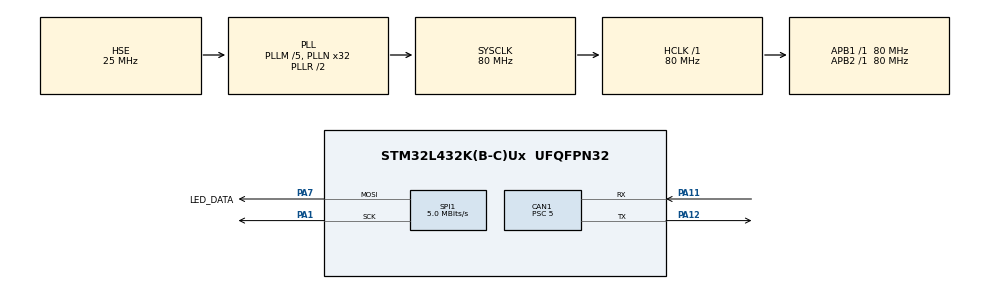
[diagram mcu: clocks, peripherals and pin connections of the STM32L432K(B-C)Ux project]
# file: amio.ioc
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CAN1.ABOM=ENABLE
CAN1.BS1=CAN_BS1_13TQ
CAN1.BS2=CAN_BS2_2TQ
CAN1.CalculateBaudRate=1000000
CAN1.CalculateTimeBit=1000
CAN1.CalculateTimeQuantum=62.5
CAN1.NART=DISABLE
CAN1.Prescaler=5
CAN1.RFLM=DISABLE
CAN1.SJW=CAN_SJW_2TQ
Dma.Request0=SPI1_TX
Dma.SPI1_TX.0.Direction=DMA_MEMORY_TO_PERIPH
Dma.SPI1_TX.0.Instance=DMA1_Channel3
Dma.SPI1_TX.0.MemDataAlignment=DMA_MDATAALIGN_BYTE
Dma.SPI1_TX.0.MemInc=DMA_MINC_ENABLE
Dma.SPI1_TX.0.Mode=DMA_NORMAL
Dma.SPI1_TX.0.PeriphDataAlignment=DMA_PDATAALIGN_BYTE
Dma.SPI1_TX.0.PeriphInc=DMA_PINC_DISABLE
Dma.SPI1_TX.0.Priority=DMA_PRIORITY_HIGH
IWDG.Reload=2000-1
IWDG.Window=4096-1
Mcu.Family=STM32L4
Mcu.Name=STM32L432K(B-C)Ux
Mcu.Package=UFQFPN32
NVIC.CAN1_RX0_IRQn=true\:0\:0\:false\:false\:true\:true\:true\:true
NVIC.CAN1_RX1_IRQn=true\:0\:0\:false\:false\:true\:true\:true\:true
NVIC.CAN1_SCE_IRQn=true\:0\:0\:false\:false\:true\:true\:true\:true
NVIC.CAN1_TX_IRQn=true\:0\:0\:false\:false\:true\:true\:true\:true
NVIC.DMA1_Channel3_IRQn=true\:0\:0\:false\:false\:true\:false\:true\:true
NVIC.PriorityGroup=NVIC_PRIORITYGROUP_4
NVIC.SPI1_IRQn=true\:0\:0\:false\:false\:true\:true\:true\:true
NVIC.TIM7_IRQn=true\:0\:0\:false\:false\:true\:true\:true\:true
PA0.Mode=HSE-External-Clock-Source-for-LittleOrca
PA0.Signal=RCC_CK_IN
PA1.Mode=TX_Only_Simplex_Unidirect_Master
PA1.Signal=SPI1_SCK
PA11.Mode=CAN_Activate
PA11.Signal=CAN1_RX
PA12.Mode=CAN_Activate
PA12.Signal=CAN1_TX
PA13\ (JTMS-SWDIO).Mode=Serial_Wire
PA13\ (JTMS-SWDIO).Signal=SYS_JTMS-SWDIO
PA14\ (JTCK-SWCLK).Mode=Serial_Wire
PA14\ (JTCK-SWCLK).Signal=SYS_JTCK-SWCLK
PA7.GPIO_Label=LED_DATA
PA7.Mode=TX_Only_Simplex_Unidirect_Master
PA7.Signal=SPI1_MOSI
ProjectManager.HeapSize=0x200
ProjectManager.StackSize=0x400
ProjectManager.TargetToolchain=Makefile
RCC.ADCFreq_Value=20000000
RCC.AHBFreq_Value=80000000
RCC.APB1Freq_Value=80000000
RCC.APB1TimFreq_Value=80000000
RCC.APB2Freq_Value=80000000
RCC.APB2TimFreq_Value=80000000
RCC.CortexFreq_Value=80000000
RCC.HCLKFreq_Value=80000000
RCC.HSE_VALUE=25000000
RCC.HSI48_VALUE=48000000
RCC.HSI_VALUE=16000000
RCC.LSE_VALUE=32768
RCC.MSI_VALUE=4000000
RCC.PLLM=5
RCC.PLLN=32
RCC.PLLSourceVirtual=RCC_PLLSOURCE_HSE
RCC.SYSCLKFreq_VALUE=80000000
RCC.SYSCLKSource=RCC_SYSCLKSOURCE_PLLCLK
RCC.USBFreq_Value=20000000
RCC.VCOOutputFreq_Value=160000000
SPI1.BaudRatePrescaler=SPI_BAUDRATEPRESCALER_16
SPI1.CalculateBaudRate=5.0 MBits/s
SPI1.DataSize=SPI_DATASIZE_8BIT
SPI1.Direction=SPI_DIRECTION_2LINES
SPI1.Mode=SPI_MODE_MASTER
SPI1.NSSPMode=SPI_NSS_PULSE_DISABLE
SPI1.VirtualType=VM_MASTER
TIM7.Period=99
TIM7.Prescaler=79
VP_IWDG_VS_IWDG.Mode=IWDG_Activate
VP_TIM7_VS_ClockSourceINT.Mode=Enable_Timer
board=custom

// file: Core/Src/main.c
/* USER CODE BEGIN Header */
/**
 ******************************************************************************
 * @file           : main.c
 * @brief          : Main program body
 ******************************************************************************
 * @attention
 *
 * Copyright (c) 2023 STMicroelectronics.
 * All rights reserved.
 *
 * This software is licensed under terms that can be found in the LICENSE file
 * in the root directory of this software component.
 * If no LICENSE file comes with this software, it is provided AS-IS.
 *
 ******************************************************************************
 */
/* USER CODE END Header */
#include "main.h"
#include "can.h"
#include "dma.h"
#include "gpio.h"
#include "iwdg.h"
#include "spi.h"
#include "tim.h"

/* USER CODE BEGIN Includes */
#include "can_comms.h"
#include "mission.h"
#include "utils.h"
#include "visEffect.h"
#include "ws2812_spi.h"
/* USER CODE END Includes */

void SystemClock_Config(void);

/* USER CODE BEGIN 0 */
void HAL_TIM_PeriodElapsedCallback(TIM_HandleTypeDef *htim)
{
}
/* USER CODE END 0 */

int main(void)
{

    /* MCU Configuration--------------------------------------------------------*/

    /* Reset of all peripherals, Initializes the Flash interface and the Systick. */
    HAL_Init();

    /* Configure the system clock */
    SystemClock_Config();

    /* Initialize all configured peripherals */
    MX_GPIO_Init();
    MX_DMA_Init();
    MX_CAN1_Init();
    MX_SPI1_Init();
    MX_TIM7_Init();
    MX_IWDG_Init();
    /* USER CODE BEGIN 2 */
    HAL_TIM_Base_Start_IT(&htim7);

    ws2812_spi_set_all(0);
    ws2812_spi_send(&hspi1);
    HAL_CAN_Start(&hcan1);
    /* USER CODE END 2 */

    /* Infinite loop */
    /* USER CODE BEGIN WHILE */
    static uint32_t delay_100us_last = 0;
    while (1)
    {
        /* USER CODE END WHILE */

        /* USER CODE BEGIN 3 */
        HAL_IWDG_Refresh(&hiwdg);
        mission_run();
        // visHandle();

        if (delay_fun(&delay_100us_last, 100))
        {
            uint8_t data = mission_is_confirmed() ? mission_get() : MISSION_NO;

            can_msg_send(&hcan1, CAN_MISSION_STATUS_ID, &data, 1, 30);
        }
    }
    /* USER CODE END 3 */
}

void SystemClock_Config(void)
{
    RCC_OscInitTypeDef RCC_OscInitStruct = {0};
    RCC_ClkInitTypeDef RCC_ClkInitStruct = {0};

    /** Configure the main internal regulator output voltage
     */
    if (HAL_PWREx_ControlVoltageScaling(PWR_REGULATOR_VOLTAGE_SCALE1) != HAL_OK)
    {
        Error_Handler();
    }

    /** Initializes the RCC Oscillators according to the specified parameters
     * in the RCC_OscInitTypeDef structure.
     */
    RCC_OscInitStruct.OscillatorType = RCC_OSCILLATORTYPE_LSI | RCC_OSCILLATORTYPE_HSE;
    RCC_OscInitStruct.HSEState = RCC_HSE_BYPASS;
    RCC_OscInitStruct.LSIState = RCC_LSI_ON;
    RCC_OscInitStruct.PLL.PLLState = RCC_PLL_ON;
    RCC_OscInitStruct.PLL.PLLSource = RCC_PLLSOURCE_HSE;
    RCC_OscInitStruct.PLL.PLLM = 5;
    RCC_OscInitStruct.PLL.PLLN = 32;
    RCC_OscInitStruct.PLL.PLLP = RCC_PLLP_DIV7;
    RCC_OscInitStruct.PLL.PLLQ = RCC_PLLQ_DIV2;
    RCC_OscInitStruct.PLL.PLLR = RCC_PLLR_DIV2;
    if (HAL_RCC_OscConfig(&RCC_OscInitStruct) != HAL_OK)
    {
        Error_Handler();
    }

    /** Initializes the CPU, AHB and APB buses clocks
     */
    RCC_ClkInitStruct.ClockType = RCC_CLOCKTYPE_HCLK | RCC_CLOCKTYPE_SYSCLK | RCC_CLOCKTYPE_PCLK1 | RCC_CLOCKTYPE_PCLK2;
    RCC_ClkInitStruct.SYSCLKSource = RCC_SYSCLKSOURCE_PLLCLK;
    RCC_ClkInitStruct.AHBCLKDivider = RCC_SYSCLK_DIV1;
    RCC_ClkInitStruct.APB1CLKDivider = RCC_HCLK_DIV1;
    RCC_ClkInitStruct.APB2CLKDivider = RCC_HCLK_DIV1;

    if (HAL_RCC_ClockConfig(&RCC_ClkInitStruct, FLASH_LATENCY_4) != HAL_OK)
    {
        Error_Handler();
    }
}

void Error_Handler(void)
{
    __disable_irq();
    while (1)
    {
    }
}
